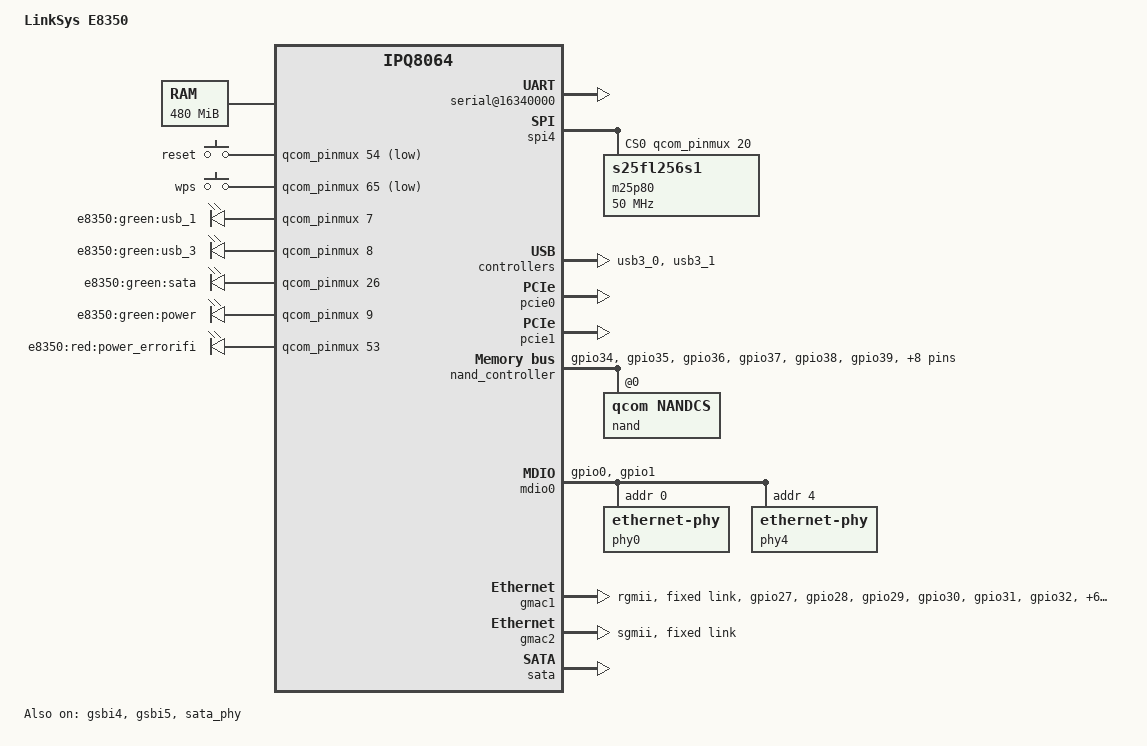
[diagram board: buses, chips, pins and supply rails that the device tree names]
#include "qcom-ipq8064-v2.0.dtsi"

#include <dt-bindings/input/input.h>

/ {
	model = "LinkSys E8350";
	compatible = "qcom,ipq8064-e8350", "qcom,ipq8064";

	memory@0 {
		reg = <0x42000000 0x1e000000>;
		device_type = "memory";
	};

	reserved-memory {
		#address-cells = <1>;
		#size-cells = <1>;
		ranges;
		rsvd@41200000 {
			reg = <0x41200000 0x300000>;
			no-map;
		};
	};

	aliases {
		serial0 = &gsbi4_serial;
		mdio-gpio0 = &mdio0;

		led-boot = &power;
		led-failsafe = &power;
		led-running = &power;
		led-upgrade = &power;
	};

	chosen {
		stdout-path = "serial0:115200n8";
	};

	keys {
		compatible = "gpio-keys";
		pinctrl-0 = <&button_pins>;
		pinctrl-names = "default";

		reset {
			label = "reset";
			gpios = <&qcom_pinmux 54 GPIO_ACTIVE_LOW>;
			linux,code = <KEY_RESTART>;
		};

		wps {
			label = "wps";
			gpios = <&qcom_pinmux 65 GPIO_ACTIVE_LOW>;
			linux,code = <KEY_WPS_BUTTON>;
		};
	};

	leds {
		compatible = "gpio-leds";
		pinctrl-0 = <&led_pins>;
		pinctrl-names = "default";

		usb_1 {
			label = "e8350:green:usb_1";
			gpios = <&qcom_pinmux 7 GPIO_ACTIVE_HIGH>;
		};

		usb_3 {
			label = "e8350:green:usb_3";
			gpios = <&qcom_pinmux 8 GPIO_ACTIVE_HIGH>;
		};

		sata {
			label = "e8350:green:sata";
			gpios = <&qcom_pinmux 26 GPIO_ACTIVE_HIGH>;
		};

		power: power {
			label = "e8350:green:power";
			gpios = <&qcom_pinmux 9 GPIO_ACTIVE_HIGH>;
			default-state = "keep";
		};

		power_error {
			label = "e8350:red:power_errorifi";
			gpios = <&qcom_pinmux 53 GPIO_ACTIVE_HIGH>;
		};
	};
};

&qcom_pinmux {
	button_pins: button_pins {
		mux {
			pins = "gpio54", "gpio65";
			function = "gpio";
			drive-strength = <2>;
			bias-pull-up;
		};
	};

	i2c4_pins: i2c4_pinmux {
		mux {
			pins = "gpio12", "gpio13";
			function = "gsbi4";
			drive-strength = <12>;
			bias-disable;
		};
	};

	led_pins: led_pins {
		mux {
			pins = "gpio7", "gpio8", "gpio9",
			       "gpio26", "gpio53";
			function = "gpio";
			drive-strength = <2>;
			bias-pull-up;
		};
	};

	nand_pins: nand_pins {
		disable {
			pins = "gpio34", "gpio35", "gpio36",
			       "gpio37", "gpio38";
			function = "nand";
			drive-strength = <10>;
			bias-disable;
		};

		pullups {
			pins = "gpio39";
			function = "nand";
			drive-strength = <10>;
			bias-pull-up;
		};

		hold {
			pins = "gpio40", "gpio41", "gpio42",
			       "gpio43", "gpio44", "gpio45",
			       "gpio46", "gpio47";
			function = "nand";
			drive-strength = <10>;
			bias-bus-hold;
		};
	};

	mdio0_pins: mdio0_pins {
		mux {
			pins = "gpio0", "gpio1";
			function = "mdio";
			drive-strength = <8>;
			bias-disable;
		};
	};

	rgmii2_pins: rgmii2_pins {
		mux {
			pins = "gpio27", "gpio28", "gpio29", 
			       "gpio30", "gpio31", "gpio32",
			       "gpio51", "gpio52", "gpio59",
			       "gpio60", "gpio61", "gpio62";
			function = "rgmii2";
			drive-strength = <8>;
			bias-disable;
		};
	};
};

&adm_dma {
	status = "okay";
};

&gsbi4 {
	qcom,mode = <GSBI_PROT_I2C_UART>;
	status = "okay";

	serial@16340000 {
		status = "okay";
	};

	/*
	* The i2c device on gsbi4 should not be enabled.
	* On ipq806x designs gsbi4 i2c is meant for exclusive
	* RPM usage. Turning this on in kernel manifests as
	* i2c failure for the RPM.
	*/
};

&gsbi5 {
	qcom,mode = <GSBI_PROT_SPI>;
	status = "okay";

	spi4: spi@1a280000 {
		status = "okay";
		spi-max-frequency = <50000000>;

		pinctrl-0 = <&spi_pins>;
		pinctrl-names = "default";

		cs-gpios = <&qcom_pinmux 20 0>;

		m25p80@0 {
			compatible = "s25fl256s1";
			#address-cells = <1>;
			#size-cells = <1>;
			spi-max-frequency = <50000000>;
			reg = <0>;

			partitions {
				compatible = "qcom,smem";
			};
		};
	};
};

&usb3_0 {
	status = "okay";
};

&usb3_1 {
	status = "okay";
};

&pcie0 {
	status = "okay";
};

&pcie1 {
	status = "okay";
	force_gen1 = <1>;
};

&nand_controller {
	status = "okay";

	pinctrl-0 = <&nand_pins>;
	pinctrl-names = "default";

	nand@0 {
		reg = <0>;
		compatible = "qcom,nandcs";

		nand-ecc-strength = <4>;
		nand-bus-width = <8>;
		nand-ecc-step-size = <512>;

		partitions {
			compatible = "qcom,smem";
		};
	};
};

&mdio0 {
	status = "okay";

	pinctrl-0 = <&mdio0_pins>;
	pinctrl-names = "default";

	phy0: ethernet-phy@0 {
		reg = <0>;
		qca,ar8327-initvals = <
			0x00004 0x7600000   /* PAD0_MODE */
			0x00008 0x1000000   /* PAD5_MODE */
			0x0000c 0x80        /* PAD6_MODE */
			0x000e4 0x6a545     /* MAC_POWER_SEL */
			0x000e0 0xc74164de  /* SGMII_CTRL */
			0x0007c 0x4e        /* PORT0_STATUS */
			0x00094 0x4e        /* PORT6_STATUS */
			>;
	};

	phy4: ethernet-phy@4 {
		reg = <4>;
	};
};

&gmac1 {
	status = "okay";
	phy-mode = "rgmii";
	qcom,id = <1>;

	pinctrl-0 = <&rgmii2_pins>;
	pinctrl-names = "default";

	fixed-link {
		speed = <1000>;
		full-duplex;
	};
};

&gmac2 {
	status = "okay";
	phy-mode = "sgmii";
	qcom,id = <2>;

	fixed-link {
		speed = <1000>;
		full-duplex;
	};
};

&sata_phy {
	status = "okay";
};

&sata {
	status = "okay";
};
